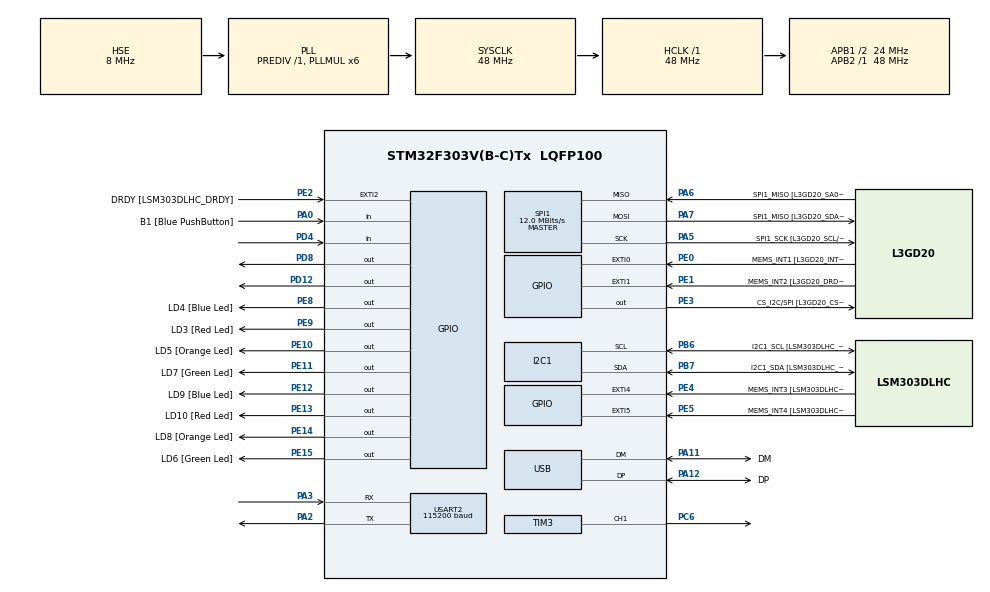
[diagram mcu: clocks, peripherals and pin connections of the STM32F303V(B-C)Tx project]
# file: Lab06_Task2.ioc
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I2C1.Timing=0x2000090E
I2C1.Timing-I2C=0x2000090E
Mcu.Family=STM32F3
Mcu.Name=STM32F303V(B-C)Tx
Mcu.Package=LQFP100
NVIC.PriorityGroup=NVIC_PRIORITYGROUP_0
PA0.GPIO_Label=B1 [Blue PushButton]
PA0.GPIO_Mode=GPIO_MODE_INPUT
PA0.GPIO_PuPd=GPIO_NOPULL
PA0.Signal=GPIO_Input
PA11.GPIO_Label=DM
PA11.Mode=Device
PA11.Signal=USB_DM
PA12.GPIO_Label=DP
PA12.Mode=Device
PA12.Signal=USB_DP
PA13.GPIO_Label=SWDIO
PA13.Mode=Serial_Wire
PA13.Signal=SYS_JTMS-SWDIO
PA14.GPIO_Label=SWCLK
PA14.Mode=Serial_Wire
PA14.Signal=SYS_JTCK-SWCLK
PA2.Mode=Asynchronous
PA2.Signal=USART2_TX
PA3.Mode=Asynchronous
PA3.Signal=USART2_RX
PA5.GPIO_Label=SPI1_SCK [L3GD20_SCL/SPC]
PA5.Mode=Full_Duplex_Master
PA5.Signal=SPI1_SCK
PA6.GPIO_Label=SPI1_MISO [L3GD20_SA0/SDO]
PA6.Mode=Full_Duplex_Master
PA6.Signal=SPI1_MISO
PA7.GPIO_Label=SPI1_MISO [L3GD20_SDA/SDI/SDO]
PA7.Mode=Full_Duplex_Master
PA7.Signal=SPI1_MOSI
PB3.GPIO_Label=SWO
PB3.Signal=SYS_JTDO-TRACESWO
PB6.GPIO_Label=I2C1_SCL [LSM303DLHC_SCL]
PB6.GPIO_Pu=GPIO_PULLUP
PB6.Mode=I2C
PB6.Signal=I2C1_SCL
PB7.GPIO_Label=I2C1_SDA [LSM303DLHC_SDA]
PB7.GPIO_Pu=GPIO_PULLUP
PB7.Mode=I2C
PB7.Signal=I2C1_SDA
PC14-OSC32_IN.GPIO_Label=OSC32_IN
PC14-OSC32_IN.Signal=RCC_OSC32_IN
PC15-OSC32_OUT.GPIO_Label=OSC32_OUT
PC15-OSC32_OUT.Signal=RCC_OSC32_OUT
PC6.Signal=S_TIM3_CH1
PD12.Signal=GPIO_Output
PD4.GPIO_PuPd=GPIO_PULLUP
PD4.Signal=GPIO_Input
PD8.Signal=GPIO_Output
PE0.GPIO_Label=MEMS_INT1 [L3GD20_INT1]
PE0.GPIO_ModeDefaultEXTI=GPIO_MODE_EVT_RISING
PE0.Signal=GPXTI0
PE1.GPIO_Label=MEMS_INT2 [L3GD20_DRDY/INT2]
PE1.GPIO_ModeDefaultEXTI=GPIO_MODE_EVT_RISING
PE1.Signal=GPXTI1
PE10.GPIO_Label=LD5 [Orange Led]
PE10.Signal=GPIO_Output
PE11.GPIO_Label=LD7 [Green Led]
PE11.Signal=GPIO_Output
PE12.GPIO_Label=LD9 [Blue Led]
PE12.Signal=GPIO_Output
PE13.GPIO_Label=LD10 [Red Led]
PE13.Signal=GPIO_Output
PE14.GPIO_Label=LD8 [Orange Led]
PE14.Signal=GPIO_Output
PE15.GPIO_Label=LD6 [Green Led]
PE15.Signal=GPIO_Output
PE2.GPIO_Label=DRDY [LSM303DLHC_DRDY]
PE2.GPIO_ModeDefaultEXTI=GPIO_MODE_EVT_RISING
PE2.Signal=GPXTI2
PE3.GPIO_Label=CS_I2C/SPI [L3GD20_CS_I2C/SPI]
PE3.Signal=GPIO_Output
PE4.GPIO_Label=MEMS_INT3 [LSM303DLHC_INT1]
PE4.GPIO_ModeDefaultEXTI=GPIO_MODE_EVT_RISING
PE4.Signal=GPXTI4
PE5.GPIO_Label=MEMS_INT4 [LSM303DLHC_INT2]
PE5.GPIO_ModeDefaultEXTI=GPIO_MODE_EVT_RISING
PE5.Signal=GPXTI5
PE8.GPIO_Label=LD4 [Blue Led]
PE8.Signal=GPIO_Output
PE9.GPIO_Label=LD3 [Red Led]
PE9.Signal=GPIO_Output
PF0-OSC_IN.GPIO_Label=OSC_IN
PF0-OSC_IN.Mode=HSE-External-Clock-Source
PF0-OSC_IN.Signal=RCC_OSC_IN
PF1-OSC_OUT.GPIO_Label=OSC_OUT
PF1-OSC_OUT.Signal=RCC_OSC_OUT
ProjectManager.HeapSize=0x200
ProjectManager.StackSize=0x400
ProjectManager.TargetToolchain=CMake
RCC.AHBFreq_Value=48000000
RCC.APB1CLKDivider=RCC_HCLK_DIV2
RCC.APB1Freq_Value=24000000
RCC.APB1TimFreq_Value=48000000
RCC.APB2Freq_Value=48000000
RCC.APB2TimFreq_Value=48000000
RCC.CortexFreq_Value=48000000
RCC.HCLKFreq_Value=48000000
RCC.HSE_VALUE=8000000
RCC.HSI_VALUE=8000000
RCC.LSE_VALUE=32768
RCC.PLLMUL=RCC_PLL_MUL6
RCC.SYSCLKFreq_VALUE=48000000
RCC.SYSCLKSourceVirtual=RCC_SYSCLKSOURCE_PLLCLK
RCC.USBFreq_Value=48000000
SH.S_TIM3_CH1.0=TIM3_CH1,PWM Generation1 CH1
SPI1.BaudRatePrescaler=SPI_BAUDRATEPRESCALER_4
SPI1.BaudRatePrescaler-Full_Duplex_Master=SPI_BAUDRATEPRESCALER_2
SPI1.CalculateBaudRate=12.0 MBits/s
SPI1.CalculateBaudRate-Full_Duplex_Master=24.0 MBits/s
SPI1.Direction=SPI_DIRECTION_2LINES
SPI1.Mode=SPI_MODE_MASTER
SPI1.Mode-Full_Duplex_Master=SPI_MODE_MASTER
SPI1.VirtualType=VM_MASTER
TIM3.Channel-PWM\ Generation1\ CH1=TIM_CHANNEL_1
TIM3.Period=999
TIM3.Prescaler=47
USART2.BaudRate=115200
USART2.VirtualMode-Asynchronous=VM_ASYNC
VP_TIM2_VS_ClockSourceINT.Mode=Internal
board=STM32F3DISCOVERY

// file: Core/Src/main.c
/* USER CODE BEGIN Header */
/**
  ******************************************************************************
  * @file           : main.c
  * @brief          : Main program body
  ******************************************************************************
  * @attention
  *
  * Copyright (c) 2026 STMicroelectronics.
  * All rights reserved.
  *
  * This software is licensed under terms that can be found in the LICENSE file
  * in the root directory of this software component.
  * If no LICENSE file comes with this software, it is provided AS-IS.
  *
  ******************************************************************************
  */
/* USER CODE END Header */
#include "main.h"

/* USER CODE BEGIN Includes */
#include <stdarg.h>
#include <stdio.h>
#include <string.h>
/* USER CODE END Includes */

I2C_HandleTypeDef hi2c1;

SPI_HandleTypeDef hspi1;

TIM_HandleTypeDef htim2;
TIM_HandleTypeDef htim3;

UART_HandleTypeDef huart2;

PCD_HandleTypeDef hpcd_USB_FS;

void SystemClock_Config(void);
static void MX_GPIO_Init(void);
static void MX_I2C1_Init(void);
static void MX_SPI1_Init(void);
static void MX_TIM2_Init(void);
static void MX_USART2_UART_Init(void);
static void MX_USB_PCD_Init(void);
static void MX_TIM3_Init(void);
/* USER CODE BEGIN PFP */
volatile uint32_t lastCapture = 0;
volatile uint32_t period = 0;
volatile int flag = 0;

/* USER CODE END PFP */

/* USER CODE BEGIN 0 */

/* ---------- Motor ---------- */
void Motor_Init(void) {
  HAL_TIM_PWM_Start(&htim3, TIM_CHANNEL_1);
}

void Motor_Forward(uint16_t duty) {          // duty: 0 to 999
  HAL_GPIO_WritePin(IN1_GPIO_Port, IN1_Pin, GPIO_PIN_SET);    // D8 HIGH
  HAL_GPIO_WritePin(IN2_GPIO_Port, IN2_Pin, GPIO_PIN_RESET);  // D12 LOW
  __HAL_TIM_SET_COMPARE(&htim3, TIM_CHANNEL_1, duty);
}

/* ---------- Encoder (polling) ---------- */
int Encoder_WaitFallingEdge(uint32_t timeout_ms) {
  uint32_t start = HAL_GetTick();
  while (HAL_GPIO_ReadPin(ENC_GPIO_Port, ENC_Pin) == GPIO_PIN_RESET)  // wait for HIGH
    if (HAL_GetTick() - start > timeout_ms) return 0;
  while (HAL_GPIO_ReadPin(ENC_GPIO_Port, ENC_Pin) == GPIO_PIN_SET)    // wait for drop to LOW
    if (HAL_GetTick() - start > timeout_ms) return 0;
  return 1;
}

uint32_t Encoder_GetTicks(void) {
  if (!Encoder_WaitFallingEdge(100)) return 0;   // 1st falling edge
  __HAL_TIM_SET_COUNTER(&htim2, 0);
  HAL_TIM_Base_Start(&htim2);

  if (!Encoder_WaitFallingEdge(100)) {           // 2nd falling edge
    HAL_TIM_Base_Stop(&htim2);
    return 0;
  }
  uint32_t ticks = __HAL_TIM_GET_COUNTER(&htim2);
  HAL_TIM_Base_Stop(&htim2);
  return ticks;
}

/* ---------- Calculations ---------- */
float Calc_Frequency(uint32_t ticks) {
  return TICK_HZ / ticks;
}

float Calc_RPM(float freq) {
  return (60.0f * freq) / PPR;
}

 void myPrintf(const char *fmt, ...){
    char buffer[100];
    va_list args;
    va_start(args, fmt);
    vsnprintf(buffer, sizeof(buffer), fmt, args);
    va_end(args);

    uint8_t length = strlen(buffer);
    HAL_UART_Transmit(&huart2, (uint8_t *)buffer, length, HAL_MAX_DELAY);

  }

/* USER CODE END 0 */

int main(void)
{

  /* MCU Configuration--------------------------------------------------------*/

  /* Reset of all peripherals, Initializes the Flash interface and the Systick. */
  HAL_Init();

  /* Configure the system clock */
  SystemClock_Config();

  /* Initialize all configured peripherals */
  MX_GPIO_Init();
  MX_I2C1_Init();
  MX_SPI1_Init();
  MX_TIM2_Init();
  MX_USART2_UART_Init();
  MX_USB_PCD_Init();
  MX_TIM3_Init();
  /* USER CODE BEGIN 2 */
  // HAL_TIM_IC_Start_IT(&htim2, TIM_CHANNEL_1);.
  Motor_Init();
  Motor_Forward(600);   // 60% duty
  /* USER CODE END 2 */

  /* Infinite loop */
  while (1)
  {

    /* USER CODE BEGIN 3 */

  uint32_t ticks = Encoder_GetTicks();
  if (ticks > 0) {
    float freq = Calc_Frequency(ticks);
    float rpm  = Calc_RPM(freq);
    myPrintf("f = %.2f Hz  RPM = %.2f\r\n", freq, rpm);
  } else {
    myPrintf("No pulses (motor stopped?)\r\n");
  }
  HAL_Delay(200);
//   if (flag == 1) {
//   float f = (48000000.0f / 72.0f) / period;
//   float err = f / period;

//   myPrintf("f = %.2f +/- %.2f Hz\r\n", f, err);
//   flag = 0;
// }
// HAL_Delay(100);
//   }
  /* USER CODE END 3 */
}

void SystemClock_Config(void)
{
  RCC_OscInitTypeDef RCC_OscInitStruct = {0};
  RCC_ClkInitTypeDef RCC_ClkInitStruct = {0};
  RCC_PeriphCLKInitTypeDef PeriphClkInit = {0};

  /** Initializes the RCC Oscillators according to the specified parameters
  * in the RCC_OscInitTypeDef structure.
  */
  RCC_OscInitStruct.OscillatorType = RCC_OSCILLATORTYPE_HSI|RCC_OSCILLATORTYPE_HSE;
  RCC_OscInitStruct.HSEState = RCC_HSE_BYPASS;
  RCC_OscInitStruct.HSEPredivValue = RCC_HSE_PREDIV_DIV1;
  RCC_OscInitStruct.HSIState = RCC_HSI_ON;
  RCC_OscInitStruct.HSICalibrationValue = RCC_HSICALIBRATION_DEFAULT;
  RCC_OscInitStruct.PLL.PLLState = RCC_PLL_ON;
  RCC_OscInitStruct.PLL.PLLSource = RCC_PLLSOURCE_HSE;
  RCC_OscInitStruct.PLL.PLLMUL = RCC_PLL_MUL6;
  if (HAL_RCC_OscConfig(&RCC_OscInitStruct) != HAL_OK)
  {
    Error_Handler();
  }

  /** Initializes the CPU, AHB and APB buses clocks
  */
  RCC_ClkInitStruct.ClockType = RCC_CLOCKTYPE_HCLK|RCC_CLOCKTYPE_SYSCLK
                              |RCC_CLOCKTYPE_PCLK1|RCC_CLOCKTYPE_PCLK2;
  RCC_ClkInitStruct.SYSCLKSource = RCC_SYSCLKSOURCE_PLLCLK;
  RCC_ClkInitStruct.AHBCLKDivider = RCC_SYSCLK_DIV1;
  RCC_ClkInitStruct.APB1CLKDivider = RCC_HCLK_DIV2;
  RCC_ClkInitStruct.APB2CLKDivider = RCC_HCLK_DIV1;

  if (HAL_RCC_ClockConfig(&RCC_ClkInitStruct, FLASH_LATENCY_1) != HAL_OK)
  {
    Error_Handler();
  }
  PeriphClkInit.PeriphClockSelection = RCC_PERIPHCLK_USB|RCC_PERIPHCLK_USART2
                              |RCC_PERIPHCLK_I2C1;
  PeriphClkInit.Usart2ClockSelection = RCC_USART2CLKSOURCE_PCLK1;
  PeriphClkInit.I2c1ClockSelection = RCC_I2C1CLKSOURCE_HSI;
  PeriphClkInit.USBClockSelection = RCC_USBCLKSOURCE_PLL;
  if (HAL_RCCEx_PeriphCLKConfig(&PeriphClkInit) != HAL_OK)
  {
    Error_Handler();
  }
}

static void MX_I2C1_Init(void)
{

  hi2c1.Instance = I2C1;
  hi2c1.Init.Timing = 0x2000090E;
  hi2c1.Init.OwnAddress1 = 0;
  hi2c1.Init.AddressingMode = I2C_ADDRESSINGMODE_7BIT;
  hi2c1.Init.DualAddressMode = I2C_DUALADDRESS_DISABLE;
  hi2c1.Init.OwnAddress2 = 0;
  hi2c1.Init.OwnAddress2Masks = I2C_OA2_NOMASK;
  hi2c1.Init.GeneralCallMode = I2C_GENERALCALL_DISABLE;
  hi2c1.Init.NoStretchMode = I2C_NOSTRETCH_DISABLE;
  if (HAL_I2C_Init(&hi2c1) != HAL_OK)
  {
    Error_Handler();
  }

  /** Configure Analogue filter
  */
  if (HAL_I2CEx_ConfigAnalogFilter(&hi2c1, I2C_ANALOGFILTER_ENABLE) != HAL_OK)
  {
    Error_Handler();
  }

  /** Configure Digital filter
  */
  if (HAL_I2CEx_ConfigDigitalFilter(&hi2c1, 0) != HAL_OK)
  {
    Error_Handler();
  }

}

static void MX_SPI1_Init(void)
{

  /* SPI1 parameter configuration*/
  hspi1.Instance = SPI1;
  hspi1.Init.Mode = SPI_MODE_MASTER;
  hspi1.Init.Direction = SPI_DIRECTION_2LINES;
  hspi1.Init.DataSize = SPI_DATASIZE_4BIT;
  hspi1.Init.CLKPolarity = SPI_POLARITY_LOW;
  hspi1.Init.CLKPhase = SPI_PHASE_1EDGE;
  hspi1.Init.NSS = SPI_NSS_SOFT;
  hspi1.Init.BaudRatePrescaler = SPI_BAUDRATEPRESCALER_4;
  hspi1.Init.FirstBit = SPI_FIRSTBIT_MSB;
  hspi1.Init.TIMode = SPI_TIMODE_DISABLE;
  hspi1.Init.CRCCalculation = SPI_CRCCALCULATION_DISABLE;
  hspi1.Init.CRCPolynomial = 7;
  hspi1.Init.CRCLength = SPI_CRC_LENGTH_DATASIZE;
  hspi1.Init.NSSPMode = SPI_NSS_PULSE_ENABLE;
  if (HAL_SPI_Init(&hspi1) != HAL_OK)
  {
    Error_Handler();
  }

}

static void MX_TIM2_Init(void)
{

  TIM_ClockConfigTypeDef sClockSourceConfig = {0};
  TIM_MasterConfigTypeDef sMasterConfig = {0};

  htim2.Instance = TIM2;
  htim2.Init.Prescaler = 0;
  htim2.Init.CounterMode = TIM_COUNTERMODE_UP;
  htim2.Init.Period = 4294967295;
  htim2.Init.ClockDivision = TIM_CLOCKDIVISION_DIV1;
  htim2.Init.AutoReloadPreload = TIM_AUTORELOAD_PRELOAD_DISABLE;
  if (HAL_TIM_Base_Init(&htim2) != HAL_OK)
  {
    Error_Handler();
  }
  sClockSourceConfig.ClockSource = TIM_CLOCKSOURCE_INTERNAL;
  if (HAL_TIM_ConfigClockSource(&htim2, &sClockSourceConfig) != HAL_OK)
  {
    Error_Handler();
  }
  sMasterConfig.MasterOutputTrigger = TIM_TRGO_RESET;
  sMasterConfig.MasterSlaveMode = TIM_MASTERSLAVEMODE_DISABLE;
  if (HAL_TIMEx_MasterConfigSynchronization(&htim2, &sMasterConfig) != HAL_OK)
  {
    Error_Handler();
  }

}

static void MX_TIM3_Init(void)
{

  TIM_MasterConfigTypeDef sMasterConfig = {0};
  TIM_OC_InitTypeDef sConfigOC = {0};

  htim3.Instance = TIM3;
  htim3.Init.Prescaler = 47;
  htim3.Init.CounterMode = TIM_COUNTERMODE_UP;
  htim3.Init.Period = 999;
  htim3.Init.ClockDivision = TIM_CLOCKDIVISION_DIV1;
  htim3.Init.AutoReloadPreload = TIM_AUTORELOAD_PRELOAD_DISABLE;
  if (HAL_TIM_PWM_Init(&htim3) != HAL_OK)
  {
    Error_Handler();
  }
  sMasterConfig.MasterOutputTrigger = TIM_TRGO_RESET;
  sMasterConfig.MasterSlaveMode = TIM_MASTERSLAVEMODE_DISABLE;
  if (HAL_TIMEx_MasterConfigSynchronization(&htim3, &sMasterConfig) != HAL_OK)
  {
    Error_Handler();
  }
  sConfigOC.OCMode = TIM_OCMODE_PWM1;
  sConfigOC.Pulse = 0;
  sConfigOC.OCPolarity = TIM_OCPOLARITY_HIGH;
  sConfigOC.OCFastMode = TIM_OCFAST_DISABLE;
  if (HAL_TIM_PWM_ConfigChannel(&htim3, &sConfigOC, TIM_CHANNEL_1) != HAL_OK)
  {
    Error_Handler();
  }
  HAL_TIM_MspPostInit(&htim3);

}

static void MX_USART2_UART_Init(void)
{

  huart2.Instance = USART2;
  huart2.Init.BaudRate = 115200;
  huart2.Init.WordLength = UART_WORDLENGTH_8B;
  huart2.Init.StopBits = UART_STOPBITS_1;
  huart2.Init.Parity = UART_PARITY_NONE;
  huart2.Init.Mode = UART_MODE_TX_RX;
  huart2.Init.HwFlowCtl = UART_HWCONTROL_NONE;
  huart2.Init.OverSampling = UART_OVERSAMPLING_16;
  huart2.Init.OneBitSampling = UART_ONE_BIT_SAMPLE_DISABLE;
  huart2.AdvancedInit.AdvFeatureInit = UART_ADVFEATURE_NO_INIT;
  if (HAL_UART_Init(&huart2) != HAL_OK)
  {
    Error_Handler();
  }

}

static void MX_USB_PCD_Init(void)
{

  hpcd_USB_FS.Instance = USB;
  hpcd_USB_FS.Init.dev_endpoints = 8;
  hpcd_USB_FS.Init.speed = PCD_SPEED_FULL;
  hpcd_USB_FS.Init.phy_itface = PCD_PHY_EMBEDDED;
  hpcd_USB_FS.Init.low_power_enable = DISABLE;
  hpcd_USB_FS.Init.battery_charging_enable = DISABLE;
  if (HAL_PCD_Init(&hpcd_USB_FS) != HAL_OK)
  {
    Error_Handler();
  }

}

static void MX_GPIO_Init(void)
{
  GPIO_InitTypeDef GPIO_InitStruct = {0};

  /* GPIO Ports Clock Enable */
  __HAL_RCC_GPIOE_CLK_ENABLE();
  __HAL_RCC_GPIOC_CLK_ENABLE();
  __HAL_RCC_GPIOF_CLK_ENABLE();
  __HAL_RCC_GPIOA_CLK_ENABLE();
  __HAL_RCC_GPIOD_CLK_ENABLE();
  __HAL_RCC_GPIOB_CLK_ENABLE();

  /*Configure GPIO pin Output Level */
  HAL_GPIO_WritePin(GPIOE, CS_I2C_SPI_Pin|LD4_Pin|LD3_Pin|LD5_Pin
                          |LD7_Pin|LD9_Pin|LD10_Pin|LD8_Pin
                          |LD6_Pin, GPIO_PIN_RESET);

  /*Configure GPIO pin Output Level */
  HAL_GPIO_WritePin(GPIOD, GPIO_PIN_8|GPIO_PIN_12, GPIO_PIN_RESET);

  /*Configure GPIO pins : DRDY_Pin MEMS_INT3_Pin MEMS_INT4_Pin MEMS_INT1_Pin
                           MEMS_INT2_Pin */
  GPIO_InitStruct.Pin = DRDY_Pin|MEMS_INT3_Pin|MEMS_INT4_Pin|MEMS_INT1_Pin
                          |MEMS_INT2_Pin;
  GPIO_InitStruct.Mode = GPIO_MODE_EVT_RISING;
  GPIO_InitStruct.Pull = GPIO_NOPULL;
  HAL_GPIO_Init(GPIOE, &GPIO_InitStruct);

  /*Configure GPIO pins : CS_I2C_SPI_Pin LD4_Pin LD3_Pin LD5_Pin
                           LD7_Pin LD9_Pin LD10_Pin LD8_Pin
                           LD6_Pin */
  GPIO_InitStruct.Pin = CS_I2C_SPI_Pin|LD4_Pin|LD3_Pin|LD5_Pin
                          |LD7_Pin|LD9_Pin|LD10_Pin|LD8_Pin
                          |LD6_Pin;
  GPIO_InitStruct.Mode = GPIO_MODE_OUTPUT_PP;
  GPIO_InitStruct.Pull = GPIO_NOPULL;
  GPIO_InitStruct.Speed = GPIO_SPEED_FREQ_LOW;
  HAL_GPIO_Init(GPIOE, &GPIO_InitStruct);

  /*Configure GPIO pin : B1_Pin */
  GPIO_InitStruct.Pin = B1_Pin;
  GPIO_InitStruct.Mode = GPIO_MODE_INPUT;
  GPIO_InitStruct.Pull = GPIO_NOPULL;
  HAL_GPIO_Init(B1_GPIO_Port, &GPIO_InitStruct);

  /*Configure GPIO pins : PD8 PD12 */
  GPIO_InitStruct.Pin = GPIO_PIN_8|GPIO_PIN_12;
  GPIO_InitStruct.Mode = GPIO_MODE_OUTPUT_PP;
  GPIO_InitStruct.Pull = GPIO_NOPULL;
  GPIO_InitStruct.Speed = GPIO_SPEED_FREQ_LOW;
  HAL_GPIO_Init(GPIOD, &GPIO_InitStruct);

  /*Configure GPIO pin : PD4 */
  GPIO_InitStruct.Pin = GPIO_PIN_4;
  GPIO_InitStruct.Mode = GPIO_MODE_INPUT;
  GPIO_InitStruct.Pull = GPIO_PULLUP;
  HAL_GPIO_Init(GPIOD, &GPIO_InitStruct);

}

/* USER CODE BEGIN 4 */
void HAL_TIM_IC_CaptureCallback(TIM_HandleTypeDef *htim)
{
  if (htim->Instance == TIM2) {
    uint32_t now = HAL_TIM_ReadCapturedValue(htim, TIM_CHANNEL_1);
    period = now - lastCapture;
    lastCapture = now;
    flag = 1;
  }
}
/* USER CODE END 4 */

void Error_Handler(void)
{
  __disable_irq();
  while (1)
  {
  }
}
